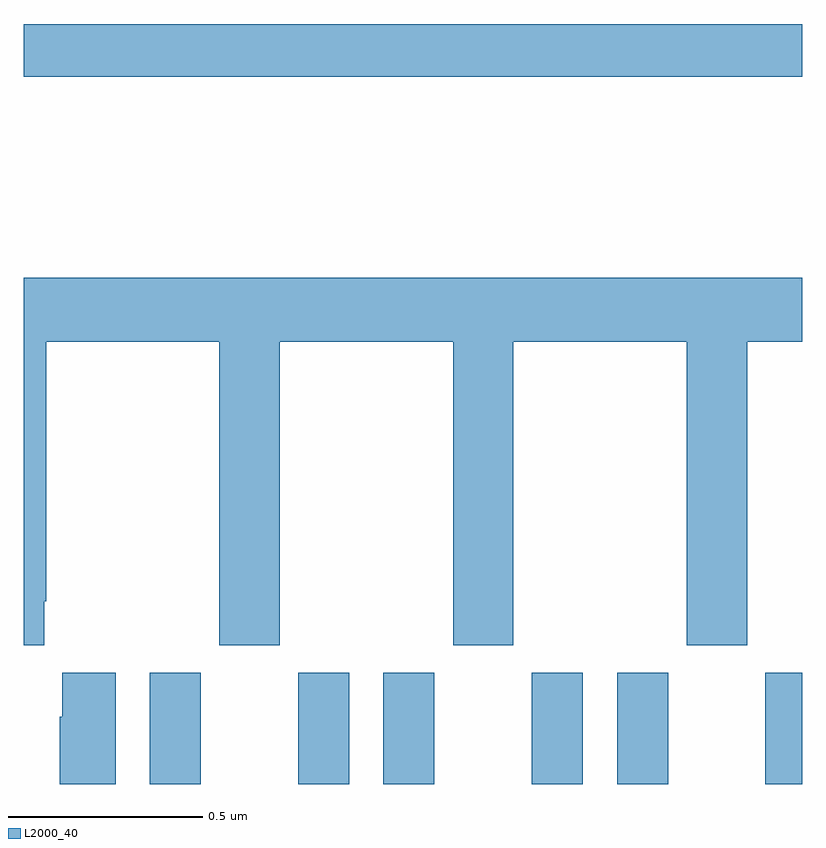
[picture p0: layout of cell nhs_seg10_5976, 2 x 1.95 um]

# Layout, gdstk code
import gdstk
lib = gdstk.Library(unit=1e-6, precision=1e-09)
def R(c, l, rs):  # rectangles x0, y0, x1, y1
    for r in rs: c.add(gdstk.rectangle(r[:2], r[2:], *l))
def P(c, l, *ps):  # polygons
    for p in ps: c.add(gdstk.Polygon(p, *l))
L2000_40 = (2000, 40)

nhs_seg10_5976 = lib.new_cell('nhs_seg10_5976')
R(nhs_seg10_5976, L2000_40, [(185.324,1312.5,185.455,1312.786), (185.705,1312.5,185.836,1312.786), (185.924,1312.5,186.055,1312.786), (186.305,1312.5,186.436,1312.786), (186.524,1312.5,186.655,1312.786), (186.905,1312.5,187,1312.786), (185,1314.316,187,1314.452)])
P(nhs_seg10_5976, L2000_40, [(185.053,1312.969),(185.058,1312.969),(185.058,1313.636),(185.503,1313.636),(185.503,1312.857),(185.658,1312.857),(185.658,1313.636),(186.103,1313.636),(186.103,1312.857),(186.258,1312.857),(186.258,1313.636),(186.703,1313.636),(186.703,1312.857),(186.858,1312.857),(186.858,1313.636),(187,1313.636),(187,1313.8),(185,1313.8),(185,1312.857),(185.053,1312.857)],
  [(185.236,1312.786),(185.099,1312.786),(185.099,1312.673),(185.093,1312.673),(185.093,1312.5),(185.236,1312.5)])

lib.write_gds('nhs_seg10_5976.gds')
